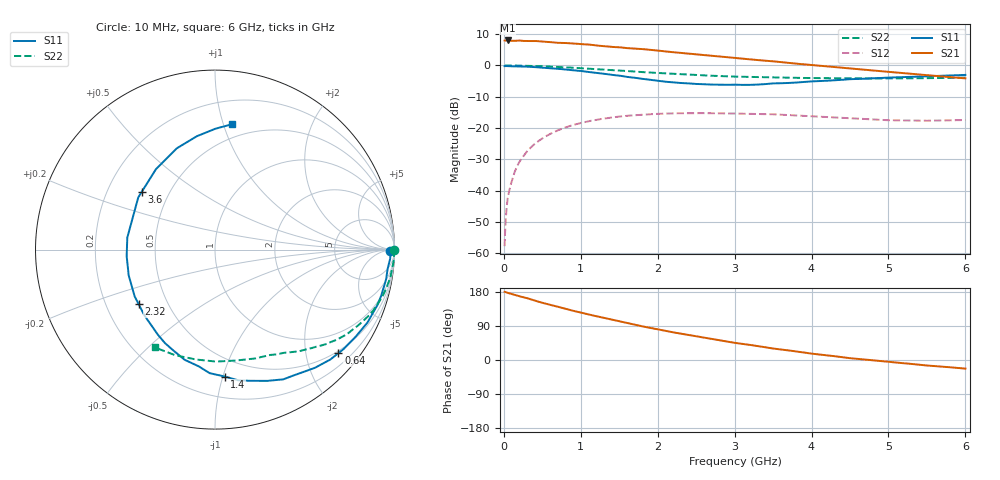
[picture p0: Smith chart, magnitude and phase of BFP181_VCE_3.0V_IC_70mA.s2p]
! Infineon Technologies  Discrete & RF Semiconductors
! BFP181
! VCE = 3.0 V,  IC =  70 mA
! Common Emitter S-Parameters:  Jan 2016
# GHz  S  MA  R  50
!  f  S11  S21  S12  S22
! GHz  MAG  ANG  MAG  ANG  MAG  ANG  MAG  ANG
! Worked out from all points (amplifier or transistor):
!   210 points, 10 MHz to 6 GHz, reference 50 ohm
!   highest |S21| = 8.0 dB at 50 MHz (marker M1)
!   |S21| within 3 dB of that: start of sweep to 1.913 GHz
!   unconditionally stable (mu >= 1): 3.527 GHz to end of sweep
!   at 185 MHz: K = 0.06, MSG = 19.8 dB, |S12| = -31.6 dB
!   at 1.52 GHz: K = 0.48, MSG = 11.0 dB, |S12| = -16.3 dB
!   at 6 GHz: K = 1.37, MAG = 3.0 dB, |S12| = -17.4 dB
!   S11 on the Smith chart (normalised r, x): 10 MHz: 67, -28; 640 MHz: 0.45, -2.68; 1.4 GHz: 0.36, -1.01; 2.32 GHz: 0.34, -0.28; 3.6 GHz: 0.35, +0.31; 6 GHz: 0.38, +1.07
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0.01  0.9749 -0.6  2.5 179.8  0.0013 90.4  0.9988 -0.2
0.015  0.976 -1.0  2.491 179.7  0.002 87.9  0.9957 -0.4
0.025  0.9772 -1.6  2.486 179.1  0.0035 87.3  0.9935 -0.8
0.05  0.9774 -2.9  2.506 177.1  0.0075 88.3  0.9977 -1.5
0.13  0.9676 -8.3  2.474 172.6  0.0183 82.8  0.9967 -3.9
0.22  0.962 -13.9  2.483 167.3  0.0311 80.5  0.9923 -6.6
0.4  0.9418 -25.5  2.462 156.8  0.0556 72.9  0.9806 -11.9
0.5  0.9217 -31.8  2.417 150.9  0.0683 68.2  0.9719 -14.8
0.64  0.8974 -40.0  2.337 143.8  0.0848 62.6  0.9551 -18.6
0.9  0.8334 -55.9  2.249 129.9  0.112 52.4  0.919 -25.3
1.02  0.8102 -63.5  2.184 124.2  0.1219 48.0  0.9005 -28.2
1.1  0.7872 -68.3  2.158 120.1  0.1285 45.2  0.8881 -30.0
1.4  0.7093 -85.6  1.977 106.7  0.1475 35.5  0.8434 -36.6
1.7  0.6367 -105.4  1.865 93.4  0.1605 27.2  0.798 -42.0
2.02  0.566 -125.2  1.716 80.1  0.1692 19.7  0.7563 -47.1
2.32  0.5227 -144.6  1.576 68.9  0.1725 13.1  0.7222 -52.0
2.8  0.4935 -175.8  1.392 52.0  0.1723 4.6  0.6789 -59.2
3.1  0.4893 166.8  1.286 42.6  0.1695 0.0  0.6589 -63.7
3.6  0.5197 141.7  1.13 27.9  0.1636 -5.6  0.6413 -71.7
4.1  0.5621 122.9  0.99 14.6  0.1523 -9.5  0.6265 -81.1
5.1  0.645 97.2  0.771 -6.7  0.1329 -10.0  0.6211 -102.0
6  0.7059 82.1  0.622 -22.7  0.1344 -4.5  0.6399 -121.6
